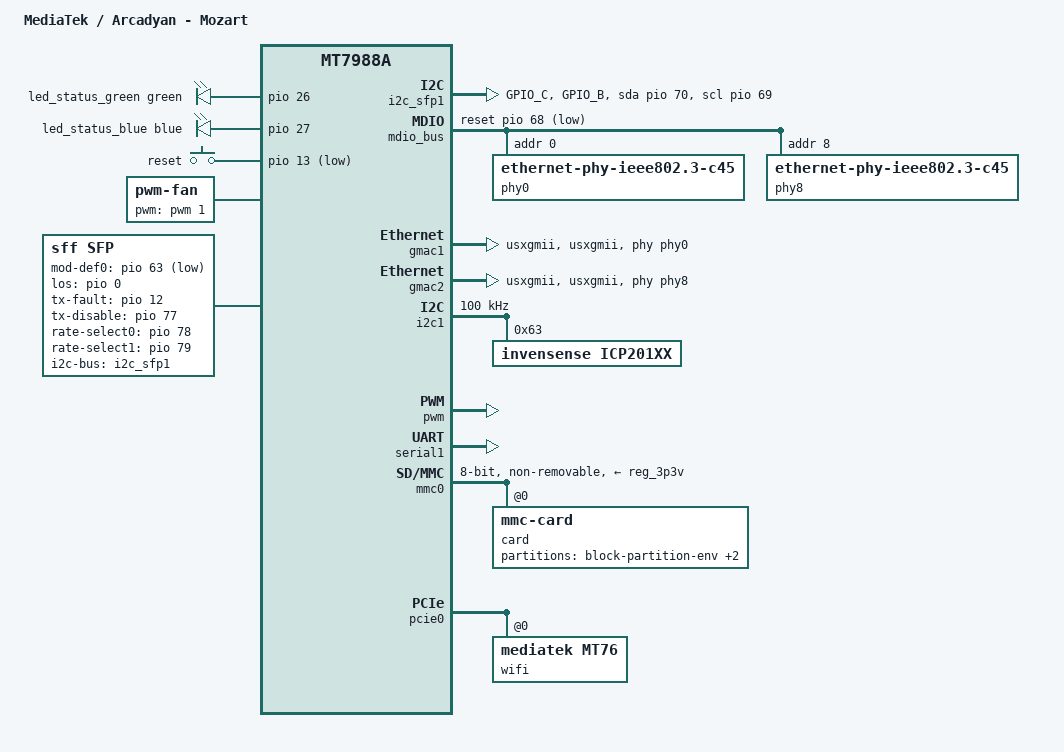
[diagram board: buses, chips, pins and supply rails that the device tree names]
// SPDX-License-Identifier: (GPL-2.0 OR MIT)

/dts-v1/;
#include "mt7988a-rfb.dts"
#include <dt-bindings/input/input.h>
#include <dt-bindings/gpio/gpio.h>
#include <dt-bindings/leds/common.h>
#include <dt-bindings/phy/phy.h>

/ {
	compatible = "arcadyan,mozart", "mediatek,mt7988a";
	model = "MediaTek / Arcadyan - Mozart";

	aliases {
		serial0 = &serial0;
		led-boot = &led_status_blue;
		led-running = &led_status_green;
		led-upgrade = &led_status_green;
	};

	chosen {
		rootdisk = <&emmc_rootfs>;
	};

	gpio-leds {
		compatible = "gpio-leds";

		led_status_green: wifi_green {
			color = <LED_COLOR_ID_GREEN>;
			function = LED_FUNCTION_STATUS;
			gpios = <&pio 26 GPIO_ACTIVE_HIGH>;
		};

		led_status_blue: wifi_blue {
			color = <LED_COLOR_ID_BLUE>;
			function = LED_FUNCTION_STATUS;
			gpios = <&pio 27 GPIO_ACTIVE_HIGH>;
		};
	};

	keys {
		compatible = "gpio-keys";

		button-reset {
			label = "reset";
			linux,code = <KEY_RESTART>;
			gpios = <&pio 13 GPIO_ACTIVE_LOW>;
		};
	};

	fan: pwm-fan {
		compatible = "pwm-fan";
		#cooling-cells = <2>;
		#thermal-sensor-cells = <1>;
		/* cooling level (0, 1, 2) : (0% duty, 50% duty, 100% duty) */
		cooling-levels = <0 128 255>;
		pwms = <&pwm 1 40000 0>;
	};

	i2c_sfp1: i2c-gpio-0 {
		compatible = "i2c-gpio";
		sda-gpios = <&pio 70 (GPIO_ACTIVE_HIGH | GPIO_OPEN_DRAIN)>;
		scl-gpios = <&pio 69 (GPIO_ACTIVE_HIGH | GPIO_OPEN_DRAIN)>;
		i2c-gpio,delay-us = <2>;
		pinctrl-names = "default";
		pinctrl-0 = <&sfp_i2c_pins>;
		#address-cells = <1>;
		#size-cells = <0>;
	};

	sfp {
		compatible = "sff,sfp";
		i2c-bus = <&i2c_sfp1>;
		mod-def0-gpios = <&pio 63 GPIO_ACTIVE_LOW>;
		los-gpios = <&pio 0 GPIO_ACTIVE_HIGH>;
		tx-fault-gpios = <&pio 12 GPIO_ACTIVE_HIGH>;
		tx-disable-gpios = <&pio 77 GPIO_ACTIVE_HIGH>;
		rate-select0-gpios = <&pio 78 GPIO_ACTIVE_HIGH>;
		rate-select1-gpios = <&pio 79 GPIO_ACTIVE_HIGH>;
		maximum-power-milliwatt = <3000>;
	};
};

&mdio_bus {
	reset-gpios = <&pio 68 GPIO_ACTIVE_LOW>;
	reset-delay-us = <100000>;
	reset-post-delay-us = <1000000>;

	phy0: ethernet-phy@0 {
		reg = <0>;
		compatible = "ethernet-phy-ieee802.3-c45";
		tx-polarity = <PHY_POL_INVERT>;
	};

	phy8: ethernet-phy@8 {
		reg = <8>;
		compatible = "ethernet-phy-ieee802.3-c45";
		tx-polarity = <PHY_POL_INVERT>;
	};
};

&pio {
	sfp_i2c_pins: sfp-i2c-pins {
		conf-sda {
			pins = "GPIO_C";
			drive-strength = <8>;
			mediatek,pull-up-adv = <0>;
		};

		conf-scl {
			pins = "GPIO_B";
			drive-strength = <8>;
			mediatek,pull-up-adv = <1>;
		};
	};
};

&gmac0 {
	nvmem-cells = <&macaddr_factory_4 3>;
	nvmem-cell-names = "mac-address";
};

&gmac1 {
	phy-mode = "usxgmii";
	phy-connection-type = "usxgmii";
	phy = <&phy0>;
	nvmem-cells = <&macaddr_factory_4 4>;
	nvmem-cell-names = "mac-address";
	status = "okay";
};

&gmac2 {
	phy-mode = "usxgmii";
	phy-connection-type = "usxgmii";
	phy = <&phy8>;
	nvmem-cells = <&macaddr_factory_4 5>;
	nvmem-cell-names = "mac-address";
	status = "okay";
};

&switch {
	/delete-node/ports;

	ports {
		#address-cells = <1>;
		#size-cells = <0>;

		gsw_port0: port@0 {
			reg = <0>;
			label = "lan0";
			phy-mode = "internal";
			phy-handle = <&gsw_phy0>;
		};

		port@6 {
			reg = <6>;
			ethernet = <&gmac0>;
			phy-mode = "internal";

			fixed-link {
				speed = <10000>;
				full-duplex;
				pause;
			};
		};
	};
};

&i2c1 {
	pinctrl-names = "default";
	pinctrl-0 = <&i2c1_pins>;
	clock-frequency = <100000>;
	status = "okay";

	icp201xx@63{
		compatible = "invensense,icp201xx";
		reg = <0x63>;
		#address-cells = <1>;
		#size-cells = <0>;
	};
};

&pwm {
	status = "okay";
};

&serial1 {
	status = "okay";
};

&spi1 {
	pinctrl-names = "default";
	/* pin shared with snfi */
	pinctrl-0 = <&spi1_pins>;
	status = "disabled";
};

&mmc0 {
	pinctrl-names = "default", "state_uhs";
	pinctrl-0 = <&mmc0_pins_emmc_51>;
	pinctrl-1 = <&mmc0_pins_emmc_51>;
	bus-width = <8>;
	max-frequency = <200000000>;
	cap-mmc-highspeed;
	mmc-hs200-1_8v;
	mmc-hs400-1_8v;
	hs400-ds-delay = <0x12814>;
	vqmmc-supply = <&reg_1p8v>;
	vmmc-supply = <&reg_3p3v>;
	non-removable;
	no-sd;
	no-sdio;
	status = "okay";

	card@0 {
		compatible = "mmc-card";
		reg = <0>;

		block {
			compatible = "block-device";
			partitions {
				block-partition-env {
					partname = "u-boot-env";
					nvmem-layout {
						compatible = "u-boot,env-layout";
					};
				};

				emmc_rootfs: block-partition-production {
					partname = "production";
				};

				block-partition-factory {
					partname = "factory";

					nvmem-layout {
						compatible = "fixed-layout";
						#address-cells = <1>;
						#size-cells = <1>;

						eeprom_factory_0: eeprom@0 {
							reg = <0x0 0x1e00>;
						};

						macaddr_factory_4: macaddr@a {
							compatible = "mac-base";
							reg = <0x4 0x6>;
							#nvmem-cell-cells = <1>;
						};
					};
				};
			};
		};
	};
};

&cpu_thermal {
	/delete-node/cooling-maps;
	/delete-node/trips;

	trips {
		cpu_trip_crit: crit {
			temperature = <125000>;
			hysteresis = <2000>;
			type = "critical";
		};

		cpu_trip_hot: hot {
			temperature = <120000>;
			hysteresis = <2000>;
			type = "hot";
		};

		cpu_trip_active_high: active-high {
			temperature = <110000>;
			hysteresis = <2000>;
			type = "active";
		};

		cpu_trip_active_med: active-med {
			temperature = <80000>;
			hysteresis = <2000>;
			type = "active";
		};

		cpu_trip_active_low: active-low {
			temperature = <60000>;
			hysteresis = <2000>;
			type = "active";
		};

		cpu_trip_active_silent: active-silent {
			temperature = <40000>;
			hysteresis = <2000>;
			type = "active";
		};
	};

	cooling-maps {
		cpu-active-high {
			/* active: set fan to cooling level 3 */
			cooling-device = <&fan 3 3>;
			trip = <&cpu_trip_active_high>;
		};

		cpu-active-med {
			/* active: set fan to cooling level 2 */
			cooling-device = <&fan 2 2>;
			trip = <&cpu_trip_active_med>;
		};

		cpu-active-low {
			/* active: set fan to cooling level 1 */
			cooling-device = <&fan 1 1>;
			trip = <&cpu_trip_active_low>;
		};

		cpu-active-silent {
			/* active: set fan to cooling level 0 */
			cooling-device = <&fan 0 0>;
			trip = <&cpu_trip_active_silent>;
		};
	};
};

&pcie0 {
	status = "okay";

	pcie@0,0 {
		reg = <0x0000 0 0 0 0>;
		#address-cells = <3>;
		#size-cells = <2>;

		wifi@0,0 {
			compatible = "mediatek,mt76";
			reg = <0x0000 0 0 0 0>;
			nvmem-cells = <&eeprom_factory_0>;
			nvmem-cell-names = "eeprom";
		};
	};
};
